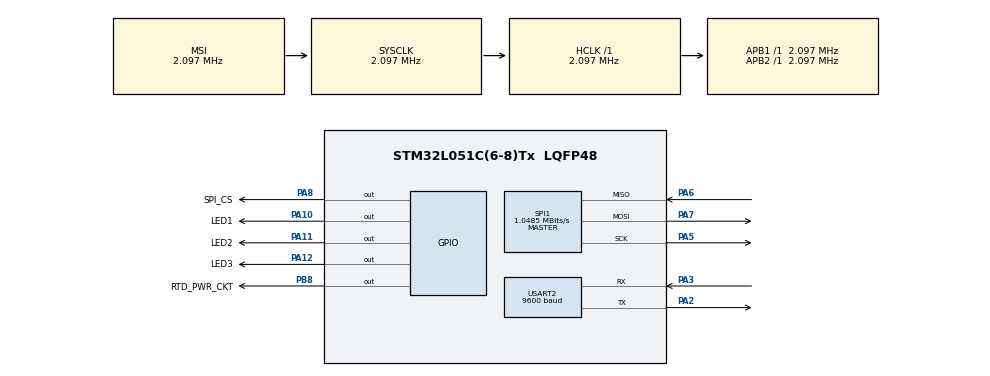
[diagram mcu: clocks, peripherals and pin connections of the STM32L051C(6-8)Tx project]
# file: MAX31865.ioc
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Mcu.Family=STM32L0
Mcu.Name=STM32L051C(6-8)Tx
Mcu.Package=LQFP48
PA10.GPIO_Label=LED1
PA10.Signal=GPIO_Output
PA11.GPIO_Label=LED2
PA11.Signal=GPIO_Output
PA12.GPIO_Label=LED3
PA12.Signal=GPIO_Output
PA13.Mode=Serial_Wire
PA13.Signal=SYS_SWDIO
PA14.Mode=Serial_Wire
PA14.Signal=SYS_SWCLK
PA2.Mode=Asynchronous
PA2.Signal=USART2_TX
PA3.Mode=Asynchronous
PA3.Signal=USART2_RX
PA5.Mode=Full_Duplex_Master
PA5.Signal=SPI1_SCK
PA6.Mode=Full_Duplex_Master
PA6.Signal=SPI1_MISO
PA7.Mode=Full_Duplex_Master
PA7.Signal=SPI1_MOSI
PA8.GPIO_Label=SPI_CS
PA8.Signal=GPIO_Output
PB8.GPIO_Label=RTD_PWR_CKT
PB8.Signal=GPIO_Output
PH0-OSC_IN.Mode=HSE-External-Oscillator
PH0-OSC_IN.Signal=RCC_OSC_IN
PH1-OSC_OUT.Mode=HSE-External-Oscillator
PH1-OSC_OUT.Signal=RCC_OSC_OUT
ProjectManager.HeapSize=0x200
ProjectManager.StackSize=0x400
ProjectManager.TargetToolchain=STM32CubeIDE
RCC.AHBFreq_Value=2097000
RCC.APB1Freq_Value=2097000
RCC.APB1TimFreq_Value=2097000
RCC.APB2Freq_Value=2097000
RCC.APB2TimFreq_Value=2097000
RCC.HSE_VALUE=8000000
RCC.HSI16_VALUE=16000000
RCC.HSI_VALUE=16000000
RCC.LSE_VALUE=32768
RCC.MSI_VALUE=2097000
RCC.SYSCLKFreq_VALUE=2097000
RCC.VCOOutputFreq_Value=48000000
SPI1.BaudRatePrescaler=SPI_BAUDRATEPRESCALER_2
SPI1.CLKPhase=SPI_PHASE_2EDGE
SPI1.CalculateBaudRate=1.0485 MBits/s
SPI1.Direction=SPI_DIRECTION_2LINES
SPI1.Mode=SPI_MODE_MASTER
SPI1.VirtualType=VM_MASTER
USART2.BaudRate=9600
USART2.VirtualMode-Asynchronous=VM_ASYNC
board=custom

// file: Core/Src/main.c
/* USER CODE BEGIN Header */
/**
  ******************************************************************************
  * @file           : main.c
  * @brief          : Main program body
  ******************************************************************************
  * @attention
  *
  * Copyright (c) 2024 STMicroelectronics.
  * All rights reserved.
  *
  * This software is licensed under terms that can be found in the LICENSE file
  * in the root directory of this software component.
  * If no LICENSE file comes with this software, it is provided AS-IS.
  *
  ******************************************************************************
  */
/* USER CODE END Header */
#include "main.h"

/* USER CODE BEGIN Includes */
#include "MAX31865.h"
/* USER CODE END Includes */

SPI_HandleTypeDef hspi1;

UART_HandleTypeDef huart2;

void SystemClock_Config(void);
static void MX_GPIO_Init(void);
static void MX_SPI1_Init(void);
static void MX_USART2_UART_Init(void);

/* USER CODE BEGIN 0 */
void port_debug_print(uint8_t * data)
{
	uint16_t len = (uint16_t)strlen((const char *)data);

	HAL_UART_Transmit(&huart2, data, len, 500);
}
/* USER CODE END 0 */

int main(void)
{

  /* USER CODE BEGIN 1 */
	uint16_t rtd = 0;
	uint8_t fault;
	max31865_fault_cycle_t fault_cycle= MAX31865_FAULT_AUTO;

	float ratio;
	char MSG1[20];
	char buffer[50];

  /* USER CODE END 1 */

  /* MCU Configuration--------------------------------------------------------*/

  /* Reset of all peripherals, Initializes the Flash interface and the Systick. */
  HAL_Init();

  /* Configure the system clock */
  SystemClock_Config();

  /* Initialize all configured peripherals */
  MX_GPIO_Init();
  MX_SPI1_Init();
  MX_USART2_UART_Init();
  /* USER CODE BEGIN 2 */
  HAL_GPIO_WritePin(RTD_PWR_CKT_GPIO_Port,RTD_PWR_CKT_Pin,GPIO_PIN_SET);
  begin(MAX31865_3WIRE);
  /* USER CODE END 2 */

  /* Infinite loop */
  /* USER CODE BEGIN WHILE */
  while (1)
  {
	  rtd = readRTD();
	     ratio = rtd;
	     ratio /= 32768;

	     sprintf(MSG1,"RTD value: %d",rtd);
	     port_debug_print((uint8_t *)MSG1);
	     port_debug_print((uint8_t *)"\n\r");

//	     sprintf(MSG1,"Ratio = %.8f" ,ratio);
//	     port_debug_print((uint8_t *)MSG1);
//	     port_debug_print((uint8_t *)"\n\r");

//	     sprintf(MSG1,"Resistance = %.8f",RREF*ratio);
//	     port_debug_print((uint8_t *)MSG1);
//	     port_debug_print((uint8_t *)"\n\r");

	     sprintf(MSG1,"Temperature = %.2f",temperature(RNOMINAL, RREF));
	     port_debug_print((uint8_t *)MSG1);
	     port_debug_print((uint8_t *)"\n\r");

	     fault = readFault(fault_cycle);
	     if (fault) {
	         sprintf(buffer, "Fault 0x%X\n", fault);
	         port_debug_print((uint8_t*)buffer);  // Use port_debug_print to transmit

	         if (fault & MAX31865_FAULT_HIGHTHRESH) {
	             sprintf(buffer, "RTD High Threshold\n");
	             port_debug_print((uint8_t*)buffer);  // Use port_debug_print
	         }
	         if (fault & MAX31865_FAULT_LOWTHRESH) {
	             sprintf(buffer, "RTD Low Threshold\n");
	             port_debug_print((uint8_t*)buffer);  // Use port_debug_print
	         }
	         if (fault & MAX31865_FAULT_REFINLOW) {
	             sprintf(buffer, "REFIN- > 0.85 x Bias\n");
	             port_debug_print((uint8_t*)buffer);  // Use port_debug_print
	         }
	         if (fault & MAX31865_FAULT_REFINHIGH) {
	             sprintf(buffer, "REFIN- < 0.85 x Bias - FORCE- open\n");
	             port_debug_print((uint8_t*)buffer);  // Use port_debug_print
	         }
	         if (fault & MAX31865_FAULT_RTDINLOW) {
	             sprintf(buffer, "RTDIN- < 0.85 x Bias - FORCE- open\n");
	             port_debug_print((uint8_t*)buffer);  // Use port_debug_print
	         }
	         if (fault & MAX31865_FAULT_OVUV) {
	             sprintf(buffer, "Under/Over voltage\n");
	             port_debug_print((uint8_t*)buffer);  // Use port_debug_print
	         }

	         clearFault();
	     }

	      HAL_Delay(1000);
    /* USER CODE END WHILE */

  }
}

void SystemClock_Config(void)
{
  RCC_OscInitTypeDef RCC_OscInitStruct = {0};
  RCC_ClkInitTypeDef RCC_ClkInitStruct = {0};
  RCC_PeriphCLKInitTypeDef PeriphClkInit = {0};

  /** Configure the main internal regulator output voltage
  */
  __HAL_PWR_VOLTAGESCALING_CONFIG(PWR_REGULATOR_VOLTAGE_SCALE1);

  /** Initializes the RCC Oscillators according to the specified parameters
  * in the RCC_OscInitTypeDef structure.
  */
  RCC_OscInitStruct.OscillatorType = RCC_OSCILLATORTYPE_MSI;
  RCC_OscInitStruct.MSIState = RCC_MSI_ON;
  RCC_OscInitStruct.MSICalibrationValue = 0;
  RCC_OscInitStruct.MSIClockRange = RCC_MSIRANGE_5;
  RCC_OscInitStruct.PLL.PLLState = RCC_PLL_NONE;
  if (HAL_RCC_OscConfig(&RCC_OscInitStruct) != HAL_OK)
  {
    Error_Handler();
  }

  /** Initializes the CPU, AHB and APB buses clocks
  */
  RCC_ClkInitStruct.ClockType = RCC_CLOCKTYPE_HCLK|RCC_CLOCKTYPE_SYSCLK
                              |RCC_CLOCKTYPE_PCLK1|RCC_CLOCKTYPE_PCLK2;
  RCC_ClkInitStruct.SYSCLKSource = RCC_SYSCLKSOURCE_MSI;
  RCC_ClkInitStruct.AHBCLKDivider = RCC_SYSCLK_DIV1;
  RCC_ClkInitStruct.APB1CLKDivider = RCC_HCLK_DIV1;
  RCC_ClkInitStruct.APB2CLKDivider = RCC_HCLK_DIV1;

  if (HAL_RCC_ClockConfig(&RCC_ClkInitStruct, FLASH_LATENCY_0) != HAL_OK)
  {
    Error_Handler();
  }
  PeriphClkInit.PeriphClockSelection = RCC_PERIPHCLK_USART2;
  PeriphClkInit.Usart2ClockSelection = RCC_USART2CLKSOURCE_PCLK1;
  if (HAL_RCCEx_PeriphCLKConfig(&PeriphClkInit) != HAL_OK)
  {
    Error_Handler();
  }
}

static void MX_SPI1_Init(void)
{

  /* SPI1 parameter configuration*/
  hspi1.Instance = SPI1;
  hspi1.Init.Mode = SPI_MODE_MASTER;
  hspi1.Init.Direction = SPI_DIRECTION_2LINES;
  hspi1.Init.DataSize = SPI_DATASIZE_8BIT;
  hspi1.Init.CLKPolarity = SPI_POLARITY_LOW;
  hspi1.Init.CLKPhase = SPI_PHASE_2EDGE;
  hspi1.Init.NSS = SPI_NSS_SOFT;
  hspi1.Init.BaudRatePrescaler = SPI_BAUDRATEPRESCALER_2;
  hspi1.Init.FirstBit = SPI_FIRSTBIT_MSB;
  hspi1.Init.TIMode = SPI_TIMODE_DISABLE;
  hspi1.Init.CRCCalculation = SPI_CRCCALCULATION_DISABLE;
  hspi1.Init.CRCPolynomial = 7;
  if (HAL_SPI_Init(&hspi1) != HAL_OK)
  {
    Error_Handler();
  }

}

static void MX_USART2_UART_Init(void)
{

  huart2.Instance = USART2;
  huart2.Init.BaudRate = 9600;
  huart2.Init.WordLength = UART_WORDLENGTH_8B;
  huart2.Init.StopBits = UART_STOPBITS_1;
  huart2.Init.Parity = UART_PARITY_NONE;
  huart2.Init.Mode = UART_MODE_TX_RX;
  huart2.Init.HwFlowCtl = UART_HWCONTROL_NONE;
  huart2.Init.OverSampling = UART_OVERSAMPLING_16;
  huart2.Init.OneBitSampling = UART_ONE_BIT_SAMPLE_DISABLE;
  huart2.AdvancedInit.AdvFeatureInit = UART_ADVFEATURE_NO_INIT;
  if (HAL_UART_Init(&huart2) != HAL_OK)
  {
    Error_Handler();
  }

}

static void MX_GPIO_Init(void)
{
  GPIO_InitTypeDef GPIO_InitStruct = {0};

  /* GPIO Ports Clock Enable */
  __HAL_RCC_GPIOH_CLK_ENABLE();
  __HAL_RCC_GPIOA_CLK_ENABLE();
  __HAL_RCC_GPIOB_CLK_ENABLE();

  /*Configure GPIO pin Output Level */
  HAL_GPIO_WritePin(GPIOA, SPI_CS_Pin|LED1_Pin|LED2_Pin|LED3_Pin, GPIO_PIN_RESET);

  /*Configure GPIO pin Output Level */
  HAL_GPIO_WritePin(RTD_PWR_CKT_GPIO_Port, RTD_PWR_CKT_Pin, GPIO_PIN_RESET);

  /*Configure GPIO pins : SPI_CS_Pin LED1_Pin LED2_Pin LED3_Pin */
  GPIO_InitStruct.Pin = SPI_CS_Pin|LED1_Pin|LED2_Pin|LED3_Pin;
  GPIO_InitStruct.Mode = GPIO_MODE_OUTPUT_PP;
  GPIO_InitStruct.Pull = GPIO_NOPULL;
  GPIO_InitStruct.Speed = GPIO_SPEED_FREQ_LOW;
  HAL_GPIO_Init(GPIOA, &GPIO_InitStruct);

  /*Configure GPIO pin : RTD_PWR_CKT_Pin */
  GPIO_InitStruct.Pin = RTD_PWR_CKT_Pin;
  GPIO_InitStruct.Mode = GPIO_MODE_OUTPUT_PP;
  GPIO_InitStruct.Pull = GPIO_NOPULL;
  GPIO_InitStruct.Speed = GPIO_SPEED_FREQ_LOW;
  HAL_GPIO_Init(RTD_PWR_CKT_GPIO_Port, &GPIO_InitStruct);

}

void Error_Handler(void)
{
  __disable_irq();
  while (1)
  {
  }
}
